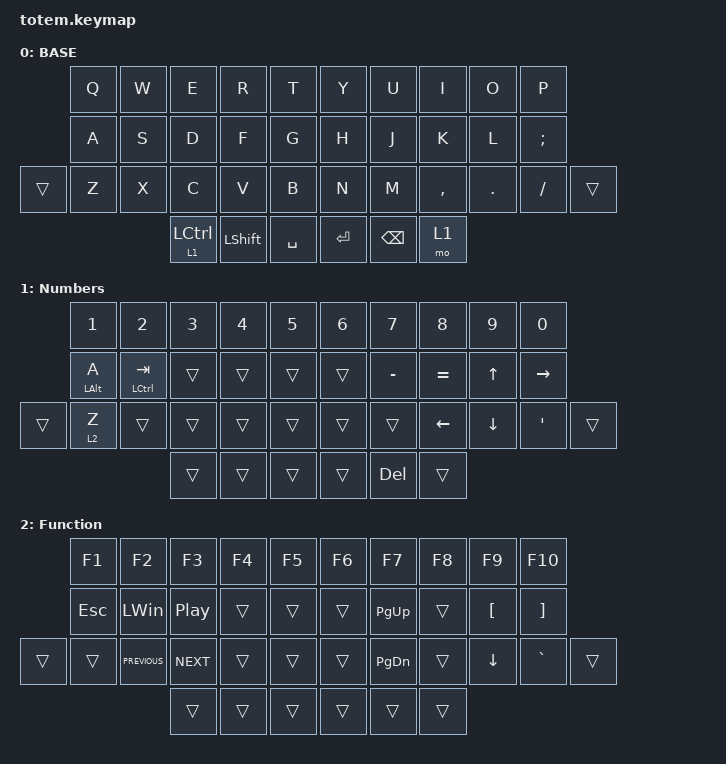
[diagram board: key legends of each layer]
//
//                                                        ▀▀▀▀▀     ▀▀▀▀▀          ▀▀█▀▀
//                                                        ▄▀▀▀▄  ▄  ▄▀▀▀▄  ▄  ▄▀▀▀▄  █  ▄▀▀▀▄
//                                                        █   █  █  █   █  █  █   █  █  █   █
//                                                         ▀▀▀   █   ▀▀▀   █   ▀▀▀   ▀   ▀▀▀
//                                                               █      ▄▄▄█▄▄▄    █   █  
//                                                               ▀      █  █  █     █▄█
//                                                             ▀▀▀▀▀    █  █  █      ▀
//                                                                      ▀  ▀  ▀
//
// ▄▄▄▄▄▄▄▄▄▄▄▄▄▄▄▄▄▄▄▄▄▄▄▄▄▄▄▄▄▄▄▄▄▄▄▄▄▄▄▄▄▄▄▄▄▄▄▄▄▄▄▄▄▄▄▄▄▄▄▄▄▄▄▄▄▄▄▄▄▄▄▄▄▄▄▄▄▄▄▄▄▄▄▄▄▄▄▄▄▄▄▄▄▄▄▄▄▄▄▄▄▄▄▄▄▄▄▄▄▄▄▄▄▄▄▄▄▄▄▄▄▄▄▄▄▄▄▄▄▄▄▄▄▄▄▄▄▄▄▄▄▄▄▄▄▄▄▄▄

#include <behaviors.dtsi>
#include <dt-bindings/zmk/keys.h>

#define BASE 0
#define NAV  1
#define SYM  2
#define ADJ  3
#define TVP1 4
#define TVP2 5

/ {
    combos {
        compatible = "zmk,combos";

        snippet {
            bindings = <&kp LG(LS(S))>;
            key-positions = <32 21 22>;
            timeout-ms = <50>;
        };
    };

    keymap {
        compatible = "zmk,keymap";

        // ▄▄▄▄▄▄▄▄▄▄▄▄▄▄▄▄▄▄▄▄▄▄▄▄▄▄▄▄▄▄▄▄▄▄▄▄▄▄▄▄▄▄▄▄▄▄▄▄▄▄▄▄▄▄▄▄▄▄▄▄▄▄▄▄▄▄▄▄▄▄▄▄▄▄▄▄▄▄▄▄▄▄▄▄▄▄▄▄▄▄▄▄▄▄▄▄▄▄▄▄▄▄▄▄▄▄▄▄▄▄▄▄▄▄▄▄▄▄▄▄▄▄▄▄▄▄▄▄▄▄▄▄▄▄▄▄▄▄▄▄▄▄▄▄▄▄▄▄▄

        base_layer {
            // ┏━━━━━━━━━━━━━━━━━━━━━━━━━━━━━━━━━━━━━━━┓

            label = "BASE";

            // ┗━━━━━━━━━━━━━━━━━━━━━━━━━━━━━━━━━━━━━━━┛
            //             ┏━━━━━━━━━━━┳━━━━━━━━━━━┳━━━━━━━━━━━┳━━━━━━━━━━━┳━━━━━━━━━━━┓   ┏━━━━━━━━━━━┳━━━━━━━━━━━┳━━━━━━━━━━━┳━━━━━━━━━━━┳━━━━━━━━━━━┓
            //             ┃     Q     ┃     W     ┃     F     ┃     P     ┃     G     ┃   ┃     J     ┃     L     ┃     U     ┃     Y     ┃     ;     ┃
            //             ┣━━━━━━━━━━━╋━━━━━━━━━━━╋━━━━━━━━━━━╋━━━━━━━━━━━╋━━━━━━━━━━━┫   ┣━━━━━━━━━━━╋━━━━━━━━━━━╋━━━━━━━━━━━╋━━━━━━━━━━━╋━━━━━━━━━━━┫
            //             ┃     A     ┃     R     ┃     S     ┃     T     ┃     D     ┃   ┃     H     ┃     N     ┃     E     ┃     I     ┃     O     ┃
            // ┏━━━━━━━━━━━╋━━━━━━━━━━━╋━━━━━━━━━━━╋━━━━━━━━━━━╋━━━━━━━━━━━╋━━━━━━━━━━━┫   ┣━━━━━━━━━━━╋━━━━━━━━━━━╋━━━━━━━━━━━╋━━━━━━━━━━━╋━━━━━━━━━━━╋━━━━━━━━━━━┓
            // ┃     Q     ┃     Z     ┃     X     ┃     C     ┃     V     ┃     B     ┃   ┃     K     ┃     M     ┃     ,     ┃     .     ┃     /     ┃     \     ┃
            // ┗━━━━━━━━━━━┻━━━━━━━━━━━┻━━━━━━━━━━━╋━━━━━━━━━━━╋━━━━━━━━━━━╋━━━━━━━━━━━┫   ┣━━━━━━━━━━━╋━━━━━━━━━━━╋━━━━━━━━━━━╋━━━━━━━━━━━┻━━━━━━━━━━━┻━━━━━━━━━━━┛
            //                                     ┃    DEL    ┃    TAB    ┃    SPC    ┃   ┃   ENTER   ┃           ┃   BSPC    ┃
            //                                     ┗━━━━━━━━━━━┻━━━━━━━━━━━┻━━━━━━━━━━━┛   ┗━━━━━━━━━━━┻━━━━━━━━━━━┻━━━━━━━━━━━┛

            bindings = <
        &kp Q  &kp W  &kp E               &kp R           &kp T        &kp Y    &kp U          &kp I      &kp O    &kp P
        &kp A  &kp S  &kp D               &kp F           &kp G        &kp H    &kp J          &kp K      &kp L    &kp SEMI
&trans  &kp Z  &kp X  &kp C               &kp V           &kp B        &kp N    &kp M          &kp COMMA  &kp DOT  &kp FSLH  &trans
                      &lt 1 LEFT_CONTROL  &kp LEFT_SHIFT  &kp SPACE    &kp RET  &kp BACKSPACE  &mo 1
            >;
        };

        // ▄▄▄▄▄▄▄▄▄▄▄▄▄▄▄▄▄▄▄▄▄▄▄▄▄▄▄▄▄▄▄▄▄▄▄▄▄▄▄▄▄▄▄▄▄▄▄▄▄▄▄▄▄▄▄▄▄▄▄▄▄▄▄▄▄▄▄▄▄▄▄▄▄▄▄▄▄▄▄▄▄▄▄▄▄▄▄▄▄▄▄▄▄▄▄▄▄▄▄▄▄▄▄▄▄▄▄▄▄▄▄▄▄▄▄▄▄▄▄▄▄▄▄▄▄▄▄▄▄▄▄▄▄▄▄▄▄▄▄▄▄▄▄▄▄▄▄▄▄
        // ▄▄▄▄▄▄▄▄▄▄▄▄▄▄▄▄▄▄▄▄▄▄▄▄▄▄▄▄▄▄▄▄▄▄▄▄▄▄▄▄▄▄▄▄▄▄▄▄▄▄▄▄▄▄▄▄▄▄▄▄▄▄▄▄▄▄▄▄▄▄▄▄▄▄▄▄▄▄▄▄▄▄▄▄▄▄▄▄▄▄▄▄▄▄▄▄▄▄▄▄▄▄▄▄▄▄▄▄▄▄▄▄▄▄▄▄▄▄▄▄▄▄▄▄▄▄▄▄▄▄▄▄▄▄▄▄▄▄▄▄▄▄▄▄▄▄▄▄▄
        // ▄▄▄▄▄▄▄▄▄▄▄▄▄▄▄▄▄▄▄▄▄▄▄▄▄▄▄▄▄▄▄▄▄▄▄▄▄▄▄▄▄▄▄▄▄▄▄▄▄▄▄▄▄▄▄▄▄▄▄▄▄▄▄▄▄▄▄▄▄▄▄▄▄▄▄▄▄▄▄▄▄▄▄▄▄▄▄▄▄▄▄▄▄▄▄▄▄▄▄▄▄▄▄▄▄▄▄▄▄▄▄▄▄▄▄▄▄▄▄▄▄▄▄▄▄▄▄▄▄▄▄▄▄▄▄▄▄▄▄▄▄▄▄▄▄▄▄▄▄
        // ▄▄▄▄▄▄▄▄▄▄▄▄▄▄▄▄▄▄▄▄▄▄▄▄▄▄▄▄▄▄▄▄▄▄▄▄▄▄▄▄▄▄▄▄▄▄▄▄▄▄▄▄▄▄▄▄▄▄▄▄▄▄▄▄▄▄▄▄▄▄▄▄▄▄▄▄▄▄▄▄▄▄▄▄▄▄▄▄▄▄▄▄▄▄▄▄▄▄▄▄▄▄▄▄▄▄▄▄▄▄▄▄▄▄▄▄▄▄▄▄▄▄▄▄▄▄▄▄▄▄▄▄▄▄▄▄▄▄▄▄▄▄▄▄▄▄▄▄▄
        // ▄▄▄▄▄▄▄▄▄▄▄▄▄▄▄▄▄▄▄▄▄▄▄▄▄▄▄▄▄▄▄▄▄▄▄▄▄▄▄▄▄▄▄▄▄▄▄▄▄▄▄▄▄▄▄▄▄▄▄▄▄▄▄▄▄▄▄▄▄▄▄▄▄▄▄▄▄▄▄▄▄▄▄▄▄▄▄▄▄▄▄▄▄▄▄▄▄▄▄▄▄▄▄▄▄▄▄▄▄▄▄▄▄▄▄▄▄▄▄▄▄▄▄▄▄▄▄▄▄▄▄▄▄▄▄▄▄▄▄▄▄▄▄▄▄▄▄▄▄

        Numbers {
            bindings = <
        &kp NUMBER_1    &kp NUMBER_2   &kp NUMBER_3  &kp NUMBER_4  &kp N5    &kp NUMBER_6  &kp N7     &kp N8     &kp N9          &kp N0
        &mt LEFT_ALT A  &mt LCTRL TAB  &trans        &trans        &trans    &trans        &kp MINUS  &kp EQUAL  &kp UP_ARROW    &kp RIGHT
&trans  &lt 2 Z         &trans         &trans        &trans        &trans    &trans        &trans     &kp LEFT   &kp DOWN_ARROW  &kp APOS   &trans
                                       &trans        &trans        &trans    &trans        &kp DEL    &trans
            >;
        };

        Function {
            bindings = <
        &kp F1      &kp F2          &kp F3            &kp F4  &kp F5    &kp F6  &kp F7         &kp F8  &kp F9            &kp F10
        &kp ESCAPE  &kp LEFT_WIN    &kp C_PLAY_PAUSE  &trans  &trans    &trans  &kp PAGE_UP    &trans  &kp LEFT_BRACKET  &kp RIGHT_BRACKET
&trans  &trans      &kp C_PREVIOUS  &kp C_NEXT        &trans  &trans    &trans  &kp PAGE_DOWN  &trans  &kp DOWN_ARROW    &kp GRAVE          &trans
                                    &trans            &trans  &trans    &trans  &trans         &trans
            >;
        };
    };
};
